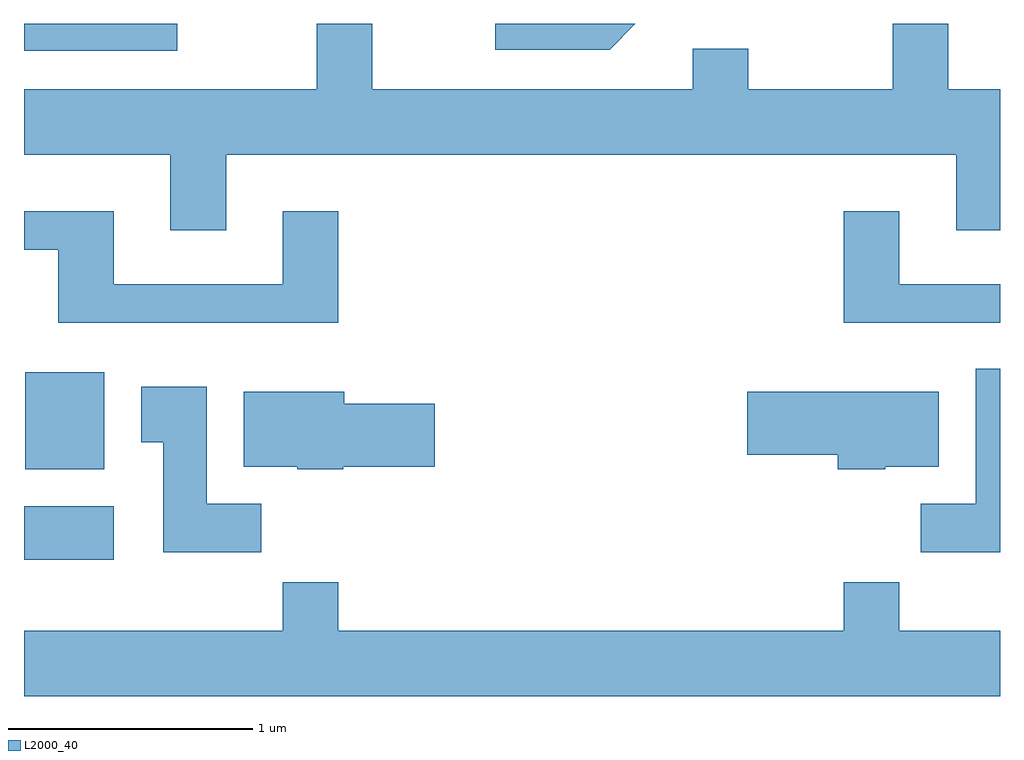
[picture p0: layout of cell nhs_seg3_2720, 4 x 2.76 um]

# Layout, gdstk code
import gdstk
lib = gdstk.Library(unit=1e-6, precision=1e-09)
def R(c, l, rs):  # rectangles x0, y0, x1, y1
    for r in rs: c.add(gdstk.rectangle(r[:2], r[2:], *l))
def P(c, l, *ps):  # polygons
    for p in ps: c.add(gdstk.Polygon(p, *l))
L2000_40 = (2000, 40)

nhs_seg3_2720 = lib.new_cell('nhs_seg3_2720')
R(nhs_seg3_2720, L2000_40, [(265.611,1117.696,265.979,1117.914), (265.616,1118.066,265.939,1118.464), (265.611,1119.781,266.239,1119.892)])
P(nhs_seg3_2720, L2000_40, [(266.439,1119.356),(269.431,1119.356),(269.431,1119.046),(269.611,1119.046),(269.611,1119.624),(269.399,1119.624),(269.399,1119.892),(269.171,1119.892),(269.171,1119.624),(268.579,1119.624),(268.579,1119.789),(268.351,1119.789),(268.351,1119.624),(267.039,1119.624),(267.039,1119.892),(266.811,1119.892),(266.811,1119.624),(265.611,1119.624),(265.611,1119.356),(266.211,1119.356),(266.211,1119.046),(266.439,1119.046)],
  [(268.117,1119.892),(267.543,1119.892),(267.543,1119.786),(268.012,1119.786)],
  [(269.611,1118.824),(269.199,1118.824),(269.199,1119.124),(268.971,1119.124),(268.971,1118.666),(269.611,1118.666)],
  [(266.899,1119.124),(266.671,1119.124),(266.671,1118.824),(265.979,1118.824),(265.979,1119.124),(265.611,1119.124),(265.611,1118.966),(265.751,1118.966),(265.751,1118.666),(266.899,1118.666)],
  [(269.611,1118.479),(269.511,1118.479),(269.511,1117.924),(269.286,1117.924),(269.286,1117.726),(269.611,1117.726)],
  [(266.584,1117.924),(266.359,1117.924),(266.359,1118.404),(266.091,1118.404),(266.091,1118.176),(266.181,1118.176),(266.181,1117.726),(266.584,1117.726)],
  [(266.92,1118.076),(267.294,1118.076),(267.294,1118.334),(266.924,1118.334),(266.924,1118.384),(266.511,1118.384),(266.511,1118.076),(266.73,1118.076),(266.73,1118.066),(266.92,1118.066)],
  [(269.14,1118.076),(269.359,1118.076),(269.359,1118.384),(268.576,1118.384),(268.576,1118.126),(268.946,1118.126),(268.946,1118.066),(269.14,1118.066)],
  [(269.611,1117.404),(269.199,1117.404),(269.199,1117.604),(268.971,1117.604),(268.971,1117.404),(266.899,1117.404),(266.899,1117.604),(266.671,1117.604),(266.671,1117.404),(265.611,1117.404),(265.611,1117.136),(269.611,1117.136)])

lib.write_gds('nhs_seg3_2720.gds')
